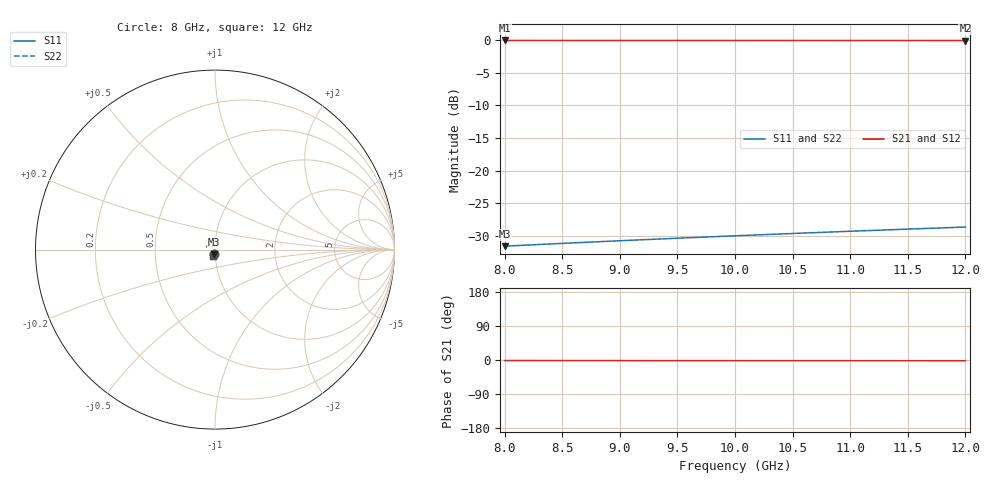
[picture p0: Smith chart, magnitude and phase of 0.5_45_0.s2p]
! Created Wed Oct 21 16:26:50 2020
# ghz S db R 50
! 2 Port Network Data from SP1.SP block
! freq  dbS11  angS11  dbS21  angS21  dbS12  angS12  dbS22  angS22
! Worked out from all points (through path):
!   9 points, 8 GHz to 12 GHz, reference 50 ohm
!   highest |S21| = -0.05 dB at 8 GHz (marker M1); lowest = -0.1 dB at 12 GHz (marker M2)
!   lowest |S11| = -31.6 dB at 8 GHz (marker M3), VSWR 1.05, Z = 49.3 - j2.53 ohm
!   |S11| at or under -10 dB: start of sweep to end of sweep
!   |S22| runs from -31.6 to -28.6 dB; largest |S21 - S12| = 0
8  -31.56 -104.2  -0.05 -1.5  -0.05 -1.5  -31.56 -104.2
8.5  -31.13 -104.1  -0.06 -1.6  -0.06 -1.6  -31.13 -104.1
9  -30.73 -104.0  -0.06 -1.6  -0.06 -1.6  -30.73 -104.0
9.5  -30.34 -103.8  -0.06 -1.7  -0.06 -1.7  -30.34 -103.8
10  -29.97 -103.7  -0.06 -1.8  -0.06 -1.8  -29.97 -103.7
10.5  -29.62 -103.5  -0.06 -1.9  -0.06 -1.9  -29.62 -103.5
11  -29.28 -103.4  -0.06 -1.9  -0.06 -1.9  -29.28 -103.4
11.5  -28.95 -103.3  -0.07 -2.0  -0.07 -2.0  -28.95 -103.3
12  -28.63 -103.1  -0.07 -2.1  -0.07 -2.1  -28.63 -103.1
